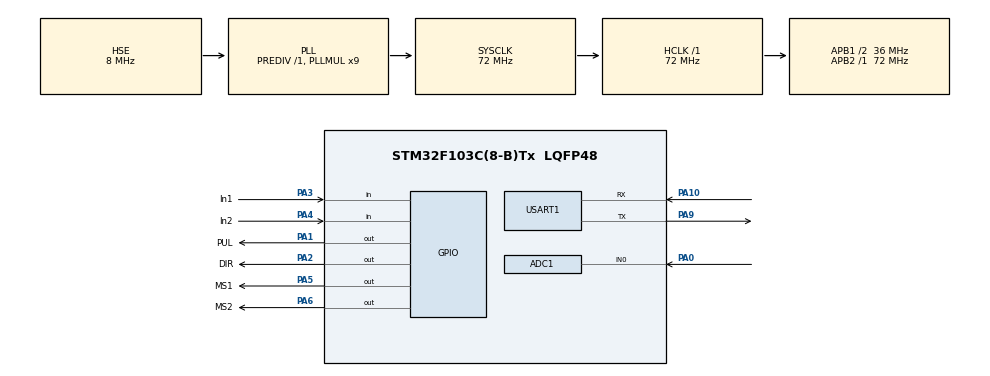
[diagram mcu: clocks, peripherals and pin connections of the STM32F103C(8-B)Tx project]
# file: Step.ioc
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ADC1.Channel-2\#ChannelRegularConversion=ADC_CHANNEL_0
ADC1.EnableInjectedConversion=DISABLE
ADC1.EnableRegularConversion=ENABLE
ADC1.ExternalTrigConv=ADC_EXTERNALTRIGCONV_T3_TRGO
ADC1.NbrOfConversion=1
ADC1.NbrOfConversionFlag=1
ADC1.Rank-2\#ChannelRegularConversion=1
ADC1.SamplingTime-2\#ChannelRegularConversion=ADC_SAMPLETIME_1CYCLE_5
ADC1.master=1
Dma.ADC1.0.Direction=DMA_PERIPH_TO_MEMORY
Dma.ADC1.0.Instance=DMA1_Channel1
Dma.ADC1.0.MemDataAlignment=DMA_MDATAALIGN_HALFWORD
Dma.ADC1.0.MemInc=DMA_MINC_ENABLE
Dma.ADC1.0.Mode=DMA_CIRCULAR
Dma.ADC1.0.PeriphDataAlignment=DMA_PDATAALIGN_HALFWORD
Dma.ADC1.0.PeriphInc=DMA_PINC_DISABLE
Dma.ADC1.0.Priority=DMA_PRIORITY_LOW
Dma.Request0=ADC1
Mcu.Family=STM32F1
Mcu.Name=STM32F103C(8-B)Tx
Mcu.Package=LQFP48
<<<<<<< HEAD
=======
>>>>>>> origin/zyt1
NVIC.DMA1_Channel1_IRQn=true\:0\:0\:false\:false\:true\:false\:true\:true
NVIC.PriorityGroup=NVIC_PRIORITYGROUP_4
<<<<<<< HEAD
NVIC.TIM1_UP_IRQn=true\:15\:0\:false\:false\:true\:false\:true\:true
NVIC.TimeBase=TIM1_UP_IRQn
NVIC.TimeBaseIP=TIM1
=======
>>>>>>> origin/zyt1
PA0-WKUP.Signal=ADCx_IN0
PA1.GPIO_Label=PUL
PA1.GPIO_PuPd=GPIO_PULLDOWN
PA1.Signal=GPIO_Output
PA10.Mode=Asynchronous
PA10.Signal=USART1_RX
PA13.Mode=Serial_Wire
PA13.Signal=SYS_JTMS-SWDIO
PA14.Mode=Serial_Wire
PA14.Signal=SYS_JTCK-SWCLK
PA2.GPIO_Label=DIR
PA2.GPIO_PuPd=GPIO_PULLDOWN
PA2.Signal=GPIO_Output
PA3.GPIO_Label=In1
PA3.GPIO_PuPd=GPIO_PULLDOWN
PA3.Signal=GPIO_Input
PA4.GPIO_Label=In2
PA4.GPIO_PuPd=GPIO_PULLDOWN
PA4.Signal=GPIO_Input
PA5.GPIO_Label=MS1
PA5.GPIO_PuPd=GPIO_PULLDOWN
PA5.Signal=GPIO_Output
PA6.GPIO_Label=MS2
PA6.GPIO_PuPd=GPIO_PULLDOWN
PA6.Signal=GPIO_Output
PA9.Mode=Asynchronous
PA9.Signal=USART1_TX
PD0-OSC_IN.Mode=HSE-External-Oscillator
PD0-OSC_IN.Signal=RCC_OSC_IN
PD1-OSC_OUT.Mode=HSE-External-Oscillator
PD1-OSC_OUT.Signal=RCC_OSC_OUT
ProjectManager.HeapSize=0x200
ProjectManager.StackSize=0x400
ProjectManager.TargetToolchain=Makefile
RCC.ADCPresc=RCC_ADCPCLK2_DIV6
RCC.AHBFreq_Value=72000000
RCC.APB1CLKDivider=RCC_HCLK_DIV2
RCC.APB1Freq_Value=36000000
RCC.APB1TimFreq_Value=72000000
RCC.APB2Freq_Value=72000000
RCC.APB2TimFreq_Value=72000000
RCC.HCLKFreq_Value=72000000
RCC.PLLMUL=RCC_PLL_MUL9
RCC.PLLSourceVirtual=RCC_PLLSOURCE_HSE
RCC.SYSCLKFreq_VALUE=72000000
RCC.SYSCLKSource=RCC_SYSCLKSOURCE_PLLCLK
RCC.USBFreq_Value=72000000
SH.ADCx_IN0.0=ADC1_IN0,IN0
TIM3.Period=1000
TIM3.Prescaler=71
TIM3.TIM_MasterOutputTrigger=TIM_TRGO_UPDATE
TIM4.Period=65535
TIM4.Prescaler=71
USART1.VirtualMode=VM_ASYNC
<<<<<<< HEAD
VP_SYS_VS_tim1.Mode=TIM1
=======
>>>>>>> origin/zyt1
VP_TIM3_VS_ClockSourceINT.Mode=Internal
VP_TIM4_VS_ClockSourceINT.Mode=Internal
board=custom

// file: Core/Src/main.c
/* USER CODE BEGIN Header */
/**
  ******************************************************************************
  * @file           : main.c
  * @brief          : Main program body
  ******************************************************************************
  * @attention
  *
  * Copyright (c) 2024 STMicroelectronics.
  * All rights reserved.
  *
  * This software is licensed under terms that can be found in the LICENSE file
  * in the root directory of this software component.
  * If no LICENSE file comes with this software, it is provided AS-IS.
  *
  ******************************************************************************
  */
/* USER CODE END Header */
#include "main.h"
#include "adc.h"
#include "dma.h"
#include "tim.h"
#include "usart.h"
#include "gpio.h"

/* USER CODE BEGIN Includes */
#include "step.h"
/* USER CODE END Includes */

void SystemClock_Config(void);

/* USER CODE BEGIN 0 */
uint16_t AD_value=0;
uint16_t flag=0;
uint16_t once=0;
uint16_t dir=0;
/* USER CODE END 0 */

int main(void)
{

  /* MCU Configuration--------------------------------------------------------*/

  /* Reset of all peripherals, Initializes the Flash interface and the Systick. */
  HAL_Init();

  /* Configure the system clock */
  SystemClock_Config();

  /* Initialize all configured peripherals */
  MX_GPIO_Init();
  MX_DMA_Init();
  MX_ADC1_Init();
  MX_TIM3_Init();
  MX_USART1_UART_Init();
  MX_TIM4_Init();
  /* USER CODE BEGIN 2 */
  HAL_TIM_Base_Start(&htim3);
  HAL_TIM_Base_Start(&htim4);
  HAL_ADCEx_Calibration_Start(&hadc1);    //ADC校准
	HAL_ADC_Start_DMA(&hadc1,&AD_value,1);
  HAL_GPIO_WritePin(MS2_GPIO_Port,MS2_Pin,1);
  HAL_GPIO_WritePin(MS1_GPIO_Port,MS1_Pin,0);
  /* USER CODE END 2 */

  /* Infinite loop */
  /* USER CODE BEGIN WHILE */
  while (1)
  {
   if(HAL_GPIO_ReadPin(In1_GPIO_Port,In1_Pin)==1)
   {
    dir=1;
   }else{
    dir=0;
   }
    /* USER CODE END WHILE */

    /* USER CODE BEGIN 3 */

    gpio_step(dir,390-AD_value*4/105,120);
    HAL_Delay(4000);
      //  HAL_GPIO_WritePin(PUL_GPIO_Port,PUL_Pin,1);
      //   delay_us(300);
      //   HAL_GPIO_WritePin(PUL_GPIO_Port,PUL_Pin,0);
      //   delay_us(300);
    //gpio_step(1,234,120);
  }
  /* USER CODE END 3 */
}

void SystemClock_Config(void)
{
  RCC_OscInitTypeDef RCC_OscInitStruct = {0};
  RCC_ClkInitTypeDef RCC_ClkInitStruct = {0};
  RCC_PeriphCLKInitTypeDef PeriphClkInit = {0};

  /** Initializes the RCC Oscillators according to the specified parameters
  * in the RCC_OscInitTypeDef structure.
  */
  RCC_OscInitStruct.OscillatorType = RCC_OSCILLATORTYPE_HSE;
  RCC_OscInitStruct.HSEState = RCC_HSE_ON;
  RCC_OscInitStruct.HSEPredivValue = RCC_HSE_PREDIV_DIV1;
  RCC_OscInitStruct.HSIState = RCC_HSI_ON;
  RCC_OscInitStruct.PLL.PLLState = RCC_PLL_ON;
  RCC_OscInitStruct.PLL.PLLSource = RCC_PLLSOURCE_HSE;
  RCC_OscInitStruct.PLL.PLLMUL = RCC_PLL_MUL9;
  if (HAL_RCC_OscConfig(&RCC_OscInitStruct) != HAL_OK)
  {
    Error_Handler();
  }

  /** Initializes the CPU, AHB and APB buses clocks
  */
  RCC_ClkInitStruct.ClockType = RCC_CLOCKTYPE_HCLK|RCC_CLOCKTYPE_SYSCLK
                              |RCC_CLOCKTYPE_PCLK1|RCC_CLOCKTYPE_PCLK2;
  RCC_ClkInitStruct.SYSCLKSource = RCC_SYSCLKSOURCE_PLLCLK;
  RCC_ClkInitStruct.AHBCLKDivider = RCC_SYSCLK_DIV1;
  RCC_ClkInitStruct.APB1CLKDivider = RCC_HCLK_DIV2;
  RCC_ClkInitStruct.APB2CLKDivider = RCC_HCLK_DIV1;

  if (HAL_RCC_ClockConfig(&RCC_ClkInitStruct, FLASH_LATENCY_2) != HAL_OK)
  {
    Error_Handler();
  }
  PeriphClkInit.PeriphClockSelection = RCC_PERIPHCLK_ADC;
  PeriphClkInit.AdcClockSelection = RCC_ADCPCLK2_DIV6;
  if (HAL_RCCEx_PeriphCLKConfig(&PeriphClkInit) != HAL_OK)
  {
    Error_Handler();
  }
}

/* USER CODE BEGIN 4 */

// void HAL_TIM_PeriodElapsedCallback(TIM_HandleTypeDef *htim)
// {
<<<<<<< HEAD
// 	if(htim->Instance == TIM2)   //判断是哪个定时器触发的中�?????????
=======
// 	if(htim->Instance == TIM2)   //判断是哪个定时器触发的中�????????
>>>>>>> origin/zyt1
// 	{
//     if(once==0)
//     {
//       flag= __HAL_TIM_GetCounter(&htim4);
//       once=1;
//     }
// 	}
// }
/* USER CODE END 4 */

void HAL_TIM_PeriodElapsedCallback(TIM_HandleTypeDef *htim)
{
  if (htim->Instance == TIM1) {
    HAL_IncTick();
  }
}

void Error_Handler(void)
{
  __disable_irq();
  while (1)
  {
  }
}
